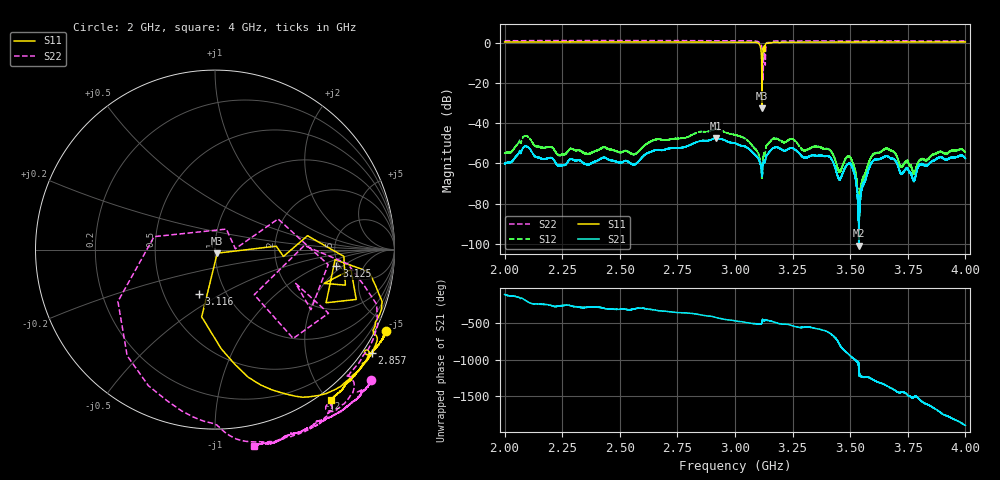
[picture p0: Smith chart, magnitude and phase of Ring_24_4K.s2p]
!Agilent Technologies,N5230C,SG49000117,A.08.50.07
!Agilent N5230C: A.08.50.07
!Date: Thursday, May 09, 2024 01:42:34
!Correction: S11(Full 2 Port(1,2))
!S21(Full 2 Port(1,2))
!S12(Full 2 Port(1,2))
!S22(Full 2 Port(1,2))
!S2P File: Measurements: S11, S21, S12, S22:
# Hz S  MA  R 50
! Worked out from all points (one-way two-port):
!   20001 points, 2 GHz to 4 GHz, reference 50 ohm
!   highest |S21| = -47.41 dB at 2.916 GHz (marker M1); lowest = -101.0 dB at 3.538 GHz (marker M2)
!   lowest |S11| = -32.6 dB at 3.117 GHz (marker M3), VSWR 1.05, Z = 51.2 - j2.04 ohm
!   |S11| at or under -10 dB: 3.115699 GHz to 3.11783 GHz (2.131 MHz wide, 0.0684 % of centre)
!   |S22| runs from -19.0 to 1.2 dB; largest |S21 - S12| = 0.0038
!   S11 on the Smith chart (normalised r, x): 2 GHz: -0.55, -4.38; 2.857 GHz: -0.28, -3.31; 3.116 GHz: 0.74, -0.40; 3.125 GHz: 4.70, -1.63; 4 GHz: -0.14, -2.02
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2e9  1.056 -25.4  0.0009627 -103.8  0.001769 -123.3  1.133 -39.9
2.0919e9  1.051 -25.8  0.002663 173.2  0.004853 154.4  1.138 -40.9
2.3334e9  1.061 -27.3  0.001136 77.0  0.001999 58.5  1.143 -44.8
2.5633e9  1.056 -29.0  0.0009525 58.4  0.001692 32.9  1.143 -48.9
2.6667e9  1.054 -30.3  0.002193 34.8  0.00398 10.8  1.142 -50.5
2.8568e9  1.048 -33.4  0.003669 -26.0  0.006191 -52.3  1.132 -55.3
2.9156e9  1.047 -34.7  0.00426 -57.4  0.00708 -83.8  1.129 -57.2
3e9  1.047 -37.3  0.003186 -105.2  0.005138 -131.3  1.129 -60.6
3.0971e9  1.014 -52.2  0.001405 -145.7  0.001947 -176.4  1.095 -78.1
3.1159e9  0.2646 -110.1  0.000483 -137.2  0.000436 -152.0  0.8206 -120.6
3.1167e9  0.02357 -57.8  0.0004734 -122.8  0.0004417 -133.4  0.7672 -129.6
3.1253e9  0.6822 -7.8  0.001152 -97.4  0.001757 -103.9  0.6645 -23.6
3.1434e9  0.987 -25.2  0.001747 -100.4  0.003077 -118.0  1.02 -37.8
3.3334e9  1.048 -39.8  0.00158 161.3  0.002488 137.4  1.121 -62.0
3.4103e9  1.047 -41.4  0.001467 87.5  0.002192 61.7  1.12 -64.4
3.4538e9  1.048 -42.0  0.0003888 -71.9  0.0006037 -98.9  1.119 -65.9
3.4977e9  1.048 -43.0  0.0009894 142.9  0.001455 109.1  1.112 -67.3
3.5376e9  1.049 -43.9  8.887e-06 -141.8  4.545e-05 -33.2  1.112 -68.5
3.594e9  1.046 -45.3  0.001071 176.4  0.001554 148.8  1.114 -70.1
3.6667e9  1.05 -46.8  0.00145 66.4  0.00227 38.6  1.119 -72.1
3.7753e9  1.056 -48.6  0.0003692 -74.2  0.0005373 -108.3  1.119 -74.8
4e9  1.058 -52.5  0.001326 -102.3  0.001839 -131.6  1.119 -78.9
